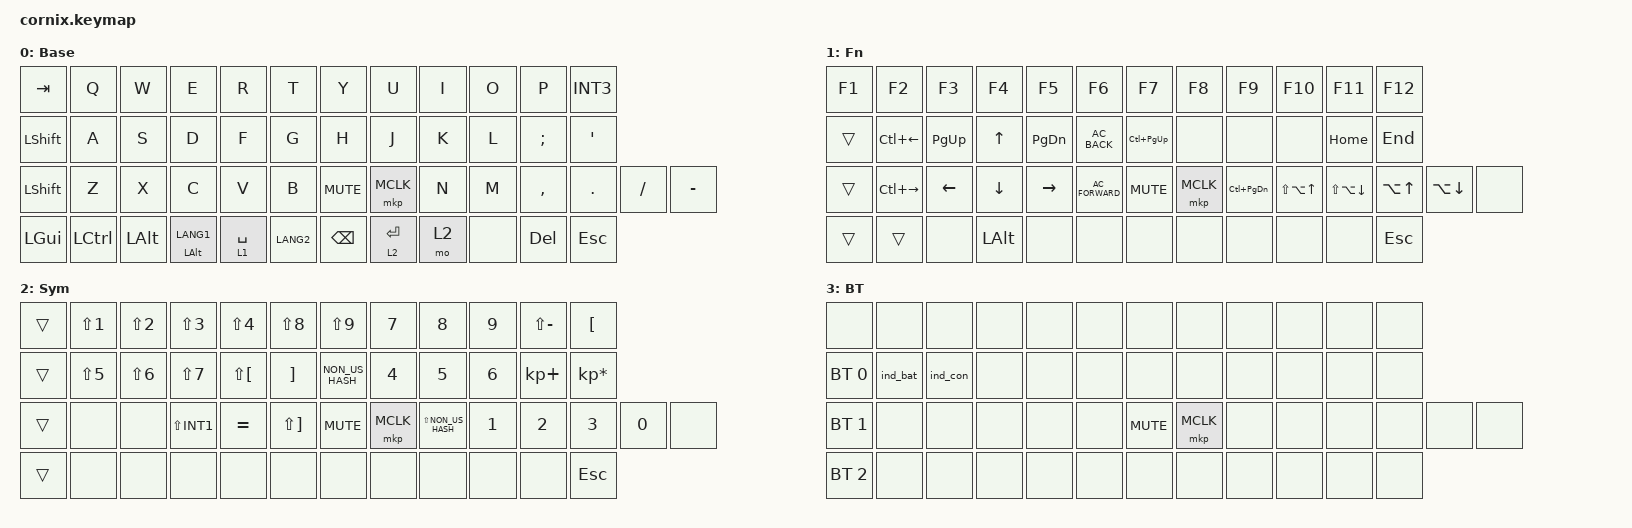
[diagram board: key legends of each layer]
/*
 * Cornix keymap restored from the factory RMK firmware's storage
 * (Vial-edited keymap read from flash 0xA0000 of the original left half).
 *
 * Tap-hold keys reproduce RMK's default morse profile as it was stored:
 * PermissiveHold (= ZMK balanced), 250 ms hold timeout, unilateral tap
 * (a key on the same half resolves as tap, decided on its release),
 * flow tap with 120 ms prior idle. RMK had no quick-tap, so none here.
 *
 * Layer 3 (BT) had no key reaching it in the original; here it is active
 * while the right-thumb Del+Esc combo is held.
 *
 * Position order follows default_transform in cornix-layouts.dtsi: left half,
 * then right half; row 2 carries the two knob presses between the halves.
 */

// Keep every behavior so ZMK Studio can assign any of them at runtime.
#ifndef ZMK_BEHAVIORS_KEEP_ALL
#define ZMK_BEHAVIORS_KEEP_ALL
#endif

#include <behaviors.dtsi>
#include <dt-bindings/zmk/bt.h>
#include <dt-bindings/zmk/keys.h>
#include <dt-bindings/zmk/pointing.h>
#include <behaviors/rgbled_widget.dtsi>

#define KEYS_L 0 1 2 3 4 5 12 13 14 15 16 17 24 25 26 27 28 29 30 38 39 40 41 42 43
#define KEYS_R 6 7 8 9 10 11 18 19 20 21 22 23 31 32 33 34 35 36 37 44 45 46 47 48 49

#define ENCODERS <&inc_dec_kp C_VOL_UP C_VOL_DN &scroll_enc>

/ {
    behaviors {
        scroll_enc: scroll_encoder {
            compatible = "zmk,behavior-sensor-rotate";
            #sensor-binding-cells = <0>;
            bindings = <&msc SCRL_DOWN>, <&msc SCRL_UP>;
            tap-ms = <20>;
        };
        lt_l: layer_tap_left {
            compatible = "zmk,behavior-hold-tap";
            #binding-cells = <2>;
            display-name = "Layer-Tap L";
            bindings = <&mo>, <&kp>;
            flavor = "balanced";
            tapping-term-ms = <250>;
            require-prior-idle-ms = <120>;
            hold-trigger-key-positions = <KEYS_R>;
            hold-trigger-on-release;
        };
        lt_r: layer_tap_right {
            compatible = "zmk,behavior-hold-tap";
            #binding-cells = <2>;
            display-name = "Layer-Tap R";
            bindings = <&mo>, <&kp>;
            flavor = "balanced";
            tapping-term-ms = <250>;
            require-prior-idle-ms = <120>;
            hold-trigger-key-positions = <KEYS_L>;
            hold-trigger-on-release;
        };
        mt_l: mod_tap_left {
            compatible = "zmk,behavior-hold-tap";
            #binding-cells = <2>;
            display-name = "Mod-Tap L";
            bindings = <&kp>, <&kp>;
            flavor = "balanced";
            tapping-term-ms = <250>;
            require-prior-idle-ms = <120>;
            hold-trigger-key-positions = <KEYS_R>;
            hold-trigger-on-release;
        };
    };

    combos {
        compatible = "zmk,combos";
        // Hold Del+Esc (right thumb) for the BT layer; 50 ms like RMK's combo timeout.
        combo_bt_layer {
            key-positions = <48 49>;
            bindings = <&mo 3>;
            timeout-ms = <50>;
            require-prior-idle-ms = <120>;
            layers = <0>;
        };
    };

    keymap {
        compatible = "zmk,keymap";

        layer_base {
            display-name = "Base";
            bindings = <
&kp TAB           &kp Q             &kp W             &kp E             &kp R             &kp T              &kp Y             &kp U             &kp I             &kp O             &kp P             &kp INT3
&kp LSHFT         &kp A             &kp S             &kp D             &kp F             &kp G              &kp H             &kp J             &kp K             &kp L             &kp SEMI          &kp SQT
&kp LSHFT         &kp Z             &kp X             &kp C             &kp V             &kp B              &kp C_MUTE        &mkp MCLK          &kp N             &kp M             &kp COMMA         &kp DOT           &kp FSLH          &kp MINUS
&kp LGUI          &kp LCTRL         &kp LALT          &mt_l LALT LANG1  &lt_l 1 SPACE     &kp LANG2          &kp BSPC          &lt_r 2 RET       &mo 2             &none             &kp DEL           &kp ESC
            >;
            sensor-bindings = ENCODERS;
        };

        layer_fn {
            display-name = "Fn";
            bindings = <
&kp F1            &kp F2            &kp F3            &kp F4            &kp F5            &kp F6             &kp F7            &kp F8            &kp F9            &kp F10           &kp F11           &kp F12
&trans            &kp LC(LEFT)      &kp PG_UP         &kp UP            &kp PG_DN         &kp C_AC_BACK      &kp LC(PG_UP)     &none             &none             &none             &kp HOME          &kp END
&trans            &kp LC(RIGHT)     &kp LEFT          &kp DOWN          &kp RIGHT         &kp C_AC_FORWARD   &kp C_MUTE        &mkp MCLK          &kp LC(PG_DN)     &kp LS(LA(UP))    &kp LS(LA(DOWN))  &kp LA(UP)        &kp LA(DOWN)      &none
&trans            &trans            &none             &kp LALT          &none             &none              &none             &none             &none             &none             &none             &kp ESC
            >;
            sensor-bindings = ENCODERS;
        };

        layer_sym {
            display-name = "Sym";
            bindings = <
&trans               &kp LS(N1)           &kp LS(N2)           &kp LS(N3)           &kp LS(N4)           &kp LS(N8)            &kp LS(N9)           &kp N7               &kp N8               &kp N9               &kp LS(MINUS)        &kp LBKT
&trans               &kp LS(N5)           &kp LS(N6)           &kp LS(N7)           &kp LS(LBKT)         &kp RBKT              &kp NON_US_HASH      &kp N4               &kp N5               &kp N6               &kp KP_PLUS          &kp KP_MULTIPLY
&trans               &none                &none                &kp LS(INT1)         &kp EQUAL            &kp LS(RBKT)          &kp C_MUTE           &mkp MCLK             &kp LS(NON_US_HASH)  &kp N1               &kp N2               &kp N3               &kp N0               &none
&trans               &none                &none                &none                &none                &none                 &none                &none                &none                &none                &none                &kp ESC
            >;
            sensor-bindings = ENCODERS;
        };

        layer_bt {
            display-name = "BT";
            bindings = <
&none         &none         &none         &none         &none         &none          &none         &none         &none         &none         &none         &none
&bt BT_SEL 0  &ind_bat      &ind_con      &none         &none         &none          &none         &none         &none         &none         &none         &none
&bt BT_SEL 1  &none         &none         &none         &none         &none          &kp C_MUTE    &mkp MCLK      &none         &none         &none         &none         &none         &none
&bt BT_SEL 2  &none         &none         &none         &none         &none          &none         &none         &none         &none         &none         &none
            >;
            sensor-bindings = ENCODERS;
        };

        // Spare slots so layers can be added from ZMK Studio.
        extra1 {
            status = "reserved";
        };
        extra2 {
            status = "reserved";
        };
    };
};
